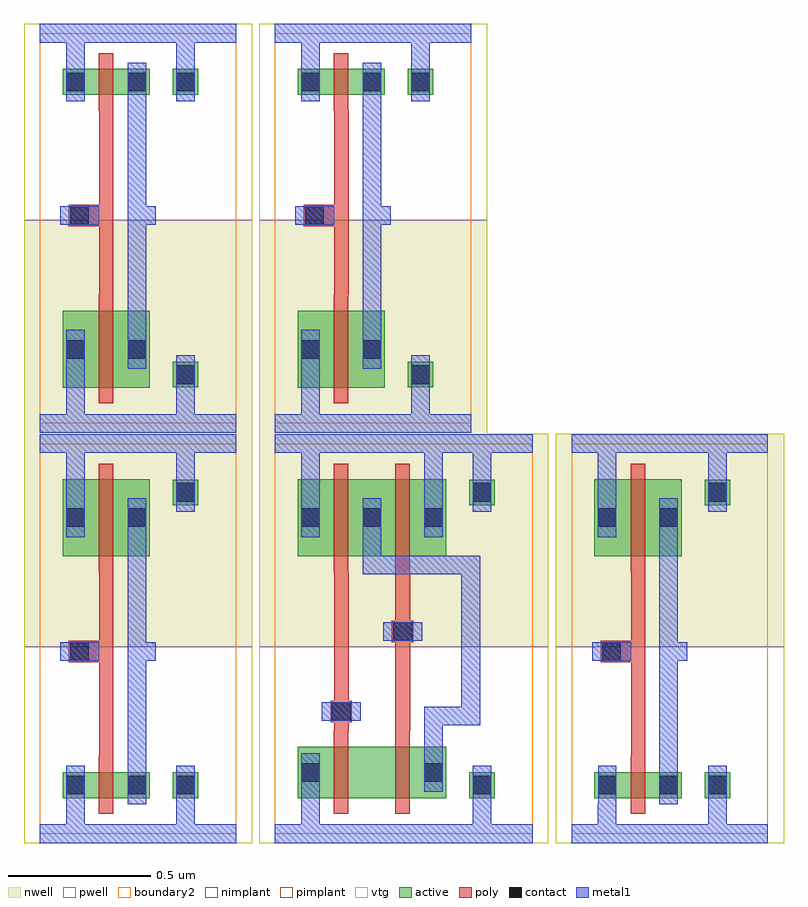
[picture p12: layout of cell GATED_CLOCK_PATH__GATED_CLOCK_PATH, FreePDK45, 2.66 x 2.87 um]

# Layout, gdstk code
import gdstk
lib = gdstk.Library(unit=1e-6, precision=1e-09)
def R(c, l, rs):  # rectangles x0, y0, x1, y1
    for r in rs: c.add(gdstk.rectangle(r[:2], r[2:], *l))
active = (1, 0)
pwell = (2, 0)
nwell = (3, 0)
nimplant = (4, 0)
pimplant = (5, 0)
vtg = (6, 0)
poly = (9, 0)
contact = (10, 0)
metal1 = (11, 0)
boundary2 = (239, 0)

gated_clock_path__sram_1 = lib.new_cell('GATED_CLOCK_PATH__sram_1rw_32x16_freepdk45_contact_11')
R(gated_clock_path__sram_1, active, [(0,0.022,0.09,0.112)])
R(gated_clock_path__sram_1, nwell, [(-0.055,-0.033,0.145,0.168)])
R(gated_clock_path__sram_1, pimplant, [(0,0.022,0.09,0.112)])
R(gated_clock_path__sram_1, contact, [(0.013,0.035,0.077,0.1)])
R(gated_clock_path__sram_1, metal1, [(0.013,0,0.077,0.135)])
R(gated_clock_path__sram_1, boundary2, [(-0.055,-0.033,0.145,0.168)])

c_gated_clock_path__sram_1 = lib.new_cell('GATED_CLOCK_PATH__sram_1rw_32x16_freepdk45_pmos_m1_w0_270_sm1_dm1_da_p')
R(c_gated_clock_path__sram_1, active, [(0,0,0.305,0.27)])
R(c_gated_clock_path__sram_1, nwell, [(-0.08,-0.08,0.385,0.35)])
R(c_gated_clock_path__sram_1, pimplant, [(0,0,0.305,0.27)])
R(c_gated_clock_path__sram_1, vtg, [(-0.08,-0.08,0.385,0.35)])
R(c_gated_clock_path__sram_1, poly, [(0.127,-0.055,0.177,0.325), (0.127,-0.055,0.177,0.325)])
R(c_gated_clock_path__sram_1, metal1, [(0.013,0.068,0.077,0.203), (0.227,0.068,0.292,0.203)])
R(c_gated_clock_path__sram_1, boundary2, [(-0.08,-0.08,0.385,0.35)])
c_gated_clock_path__sram_1.add(gdstk.Reference(gated_clock_path__sram_1, (0,0.068)))
c_gated_clock_path__sram_1.add(gdstk.Reference(gated_clock_path__sram_1, (0.215,0.068)))
c_gated_clock_path__sram_1.add(gdstk.Label('G', (0.152,0.135), layer=9, texttype=0))
c_gated_clock_path__sram_1.add(gdstk.Label('S', (0.045,0.135), layer=11, texttype=0))
c_gated_clock_path__sram_1.add(gdstk.Label('D', (0.26,0.135), layer=11, texttype=0))

c_gated_clock_path__sram_1_ = lib.new_cell('GATED_CLOCK_PATH__sram_1rw_32x16_freepdk45_contact_10')
R(c_gated_clock_path__sram_1_, active, [(0,0.022,0.09,0.112)])
R(c_gated_clock_path__sram_1_, pwell, [(-0.055,-0.033,0.145,0.168)])
R(c_gated_clock_path__sram_1_, nimplant, [(0,0.022,0.09,0.112)])
R(c_gated_clock_path__sram_1_, contact, [(0.013,0.035,0.077,0.1)])
R(c_gated_clock_path__sram_1_, metal1, [(0.013,0,0.077,0.135)])
R(c_gated_clock_path__sram_1_, boundary2, [(-0.055,-0.033,0.145,0.168)])

c_gated_clock_path__sram_1__ = lib.new_cell('GATED_CLOCK_PATH__sram_1rw_32x16_freepdk45_nmos_m1_w0_090_sm1_dm1_da_p')
R(c_gated_clock_path__sram_1__, active, [(0,0,0.305,0.09)])
R(c_gated_clock_path__sram_1__, pwell, [(-0.08,-0.08,0.385,0.17)])
R(c_gated_clock_path__sram_1__, nimplant, [(0,0,0.305,0.09)])
R(c_gated_clock_path__sram_1__, vtg, [(-0.08,-0.08,0.385,0.17)])
R(c_gated_clock_path__sram_1__, poly, [(0.127,-0.055,0.177,0.145), (0.127,-0.055,0.177,0.145)])
R(c_gated_clock_path__sram_1__, metal1, [(0.013,-0.022,0.077,0.112), (0.227,-0.022,0.292,0.112)])
R(c_gated_clock_path__sram_1__, boundary2, [(-0.08,-0.08,0.385,0.17)])
c_gated_clock_path__sram_1__.add(gdstk.Reference(c_gated_clock_path__sram_1_, (0,-0.022)))
c_gated_clock_path__sram_1__.add(gdstk.Reference(c_gated_clock_path__sram_1_, (0.215,-0.022)))
c_gated_clock_path__sram_1__.add(gdstk.Label('G', (0.152,0.045), layer=9, texttype=0))
c_gated_clock_path__sram_1__.add(gdstk.Label('S', (0.045,0.045), layer=11, texttype=0))
c_gated_clock_path__sram_1__.add(gdstk.Label('D', (0.26,0.045), layer=11, texttype=0))

c_gated_clock_path__sram_1___ = lib.new_cell('GATED_CLOCK_PATH__sram_1rw_32x16_freepdk45_contact_12')
R(c_gated_clock_path__sram_1___, active, [(0,0.022,0.09,0.112)])
R(c_gated_clock_path__sram_1___, nwell, [(-0.055,-0.033,0.145,0.168)])
R(c_gated_clock_path__sram_1___, nimplant, [(0,0.022,0.09,0.112)])
R(c_gated_clock_path__sram_1___, contact, [(0.013,0.035,0.077,0.1)])
R(c_gated_clock_path__sram_1___, metal1, [(0.013,0,0.077,0.135)])
R(c_gated_clock_path__sram_1___, boundary2, [(-0.055,-0.033,0.145,0.168)])

c_gated_clock_path__sram_1____ = lib.new_cell('GATED_CLOCK_PATH__sram_1rw_32x16_freepdk45_contact_13')
R(c_gated_clock_path__sram_1____, active, [(0,0.022,0.09,0.112)])
R(c_gated_clock_path__sram_1____, pwell, [(-0.055,-0.033,0.145,0.168)])
R(c_gated_clock_path__sram_1____, pimplant, [(0,0.022,0.09,0.112)])
R(c_gated_clock_path__sram_1____, contact, [(0.013,0.035,0.077,0.1)])
R(c_gated_clock_path__sram_1____, metal1, [(0.013,0,0.077,0.135)])
R(c_gated_clock_path__sram_1____, boundary2, [(-0.055,-0.033,0.145,0.168)])

c_gated_clock_path__sram_1_____ = lib.new_cell('GATED_CLOCK_PATH__sram_1rw_32x16_freepdk45_contact_14')
R(c_gated_clock_path__sram_1_____, poly, [(0.03,0,0.105,0.075)])
R(c_gated_clock_path__sram_1_____, contact, [(0.035,0.005,0.1,0.07)])
R(c_gated_clock_path__sram_1_____, metal1, [(0,0.005,0.135,0.07)])
R(c_gated_clock_path__sram_1_____, boundary2, [(0,0,0.135,0.075)])

gated_clock_path__gen_in = lib.new_cell('GATED_CLOCK_PATH__gen_inv')
R(gated_clock_path__gen_in, pwell, [(-0.055,-0.033,0.743,0.655)])
R(gated_clock_path__gen_in, nwell, [(-0.055,0.655,0.743,1.4)])
R(gated_clock_path__gen_in, vtg, [(-0.055,-0.033,0.743,0.655), (-0.055,0.655,0.743,1.4)])
R(gated_clock_path__gen_in, poly, [(0.208,0.27,0.258,0.915), (0.14,0.6,0.208,0.675)])
R(gated_clock_path__gen_in, metal1, [(0,-0.033,0.687,0.033), (0.092,-0.033,0.157,0.103), (0.478,0,0.542,0.17), (0.307,0.103,0.372,1.173), (0.072,0.605,0.208,0.67), (0.34,0.605,0.405,0.67), (0.092,1.038,0.157,1.397), (0.478,1.195,0.542,1.365), (0,1.332,0.687,1.397)])
R(gated_clock_path__gen_in, boundary2, [(0,0,0.687,1.365), (0,0,0.687,1.365)])
gated_clock_path__gen_in.add(gdstk.Reference(c_gated_clock_path__sram_1, (0.08,0.97)))
gated_clock_path__gen_in.add(gdstk.Reference(c_gated_clock_path__sram_1__, (0.08,0.125)))
gated_clock_path__gen_in.add(gdstk.Reference(c_gated_clock_path__sram_1___, (0.465,1.127)))
gated_clock_path__gen_in.add(gdstk.Reference(c_gated_clock_path__sram_1____, (0.465,0.103)))
gated_clock_path__gen_in.add(gdstk.Reference(c_gated_clock_path__sram_1_____, (0.072,0.6)))
gated_clock_path__gen_in.add(gdstk.Label('A', (0.14,0.638), layer=11, texttype=0))
gated_clock_path__gen_in.add(gdstk.Label('Z', (0.372,0.638), layer=11, texttype=0))
gated_clock_path__gen_in.add(gdstk.Label('gnd', (0.345,0), layer=11, texttype=0))
gated_clock_path__gen_in.add(gdstk.Label('vdd', (0.345,1.365), layer=11, texttype=0))

c_gated_clock_path__sram_1______ = lib.new_cell('GATED_CLOCK_PATH__sram_1rw_32x16_freepdk45_contact_11__gen_nand2')
R(c_gated_clock_path__sram_1______, active, [(0,0.022,0.09,0.112)])
R(c_gated_clock_path__sram_1______, nwell, [(-0.055,-0.033,0.145,0.168)])
R(c_gated_clock_path__sram_1______, pimplant, [(0,0.022,0.09,0.112)])
R(c_gated_clock_path__sram_1______, contact, [(0.013,0.035,0.077,0.1)])
R(c_gated_clock_path__sram_1______, metal1, [(0.013,0,0.077,0.135)])
R(c_gated_clock_path__sram_1______, boundary2, [(-0.055,-0.033,0.145,0.168)])

c_gated_clock_path__sram_1_______ = lib.new_cell('GATED_CLOCK_PATH__sram_1rw_32x16_freepdk45_pmos_m1_w0_270_sm1_dm1')
R(c_gated_clock_path__sram_1_______, active, [(0,0,0.305,0.27)])
R(c_gated_clock_path__sram_1_______, nwell, [(-0.08,-0.08,0.385,0.35)])
R(c_gated_clock_path__sram_1_______, pimplant, [(0,0,0.305,0.27)])
R(c_gated_clock_path__sram_1_______, vtg, [(-0.08,-0.08,0.385,0.35)])
R(c_gated_clock_path__sram_1_______, poly, [(0.127,-0.055,0.177,0.325), (0.127,-0.055,0.177,0.325)])
R(c_gated_clock_path__sram_1_______, metal1, [(0.013,0.068,0.077,0.203), (0.227,0.068,0.292,0.203)])
R(c_gated_clock_path__sram_1_______, boundary2, [(-0.08,-0.08,0.385,0.35)])
c_gated_clock_path__sram_1_______.add(gdstk.Reference(c_gated_clock_path__sram_1______, (0,0.068)))
c_gated_clock_path__sram_1_______.add(gdstk.Reference(c_gated_clock_path__sram_1______, (0.215,0.068)))
c_gated_clock_path__sram_1_______.add(gdstk.Label('G', (0.152,0.135), layer=9, texttype=0))
c_gated_clock_path__sram_1_______.add(gdstk.Label('S', (0.045,0.135), layer=11, texttype=0))
c_gated_clock_path__sram_1_______.add(gdstk.Label('D', (0.26,0.135), layer=11, texttype=0))

c_gated_clock_path__sram_1________ = lib.new_cell('GATED_CLOCK_PATH__sram_1rw_32x16_freepdk45_contact_10__gen_nand2')
R(c_gated_clock_path__sram_1________, active, [(0,0.022,0.09,0.112)])
R(c_gated_clock_path__sram_1________, pwell, [(-0.055,-0.033,0.145,0.168)])
R(c_gated_clock_path__sram_1________, nimplant, [(0,0.022,0.09,0.112)])
R(c_gated_clock_path__sram_1________, contact, [(0.013,0.035,0.077,0.1)])
R(c_gated_clock_path__sram_1________, metal1, [(0.013,0,0.077,0.135)])
R(c_gated_clock_path__sram_1________, boundary2, [(-0.055,-0.033,0.145,0.168)])

c_gated_clock_path__sram_1_________ = lib.new_cell('GATED_CLOCK_PATH__sram_1rw_32x16_freepdk45_nmos_m1_w0_180_sm1_dactive')
R(c_gated_clock_path__sram_1_________, active, [(0,0,0.305,0.18), (0.215,0.045,0.305,0.135)])
R(c_gated_clock_path__sram_1_________, pwell, [(-0.08,-0.08,0.385,0.26)])
R(c_gated_clock_path__sram_1_________, nimplant, [(0,0,0.305,0.18)])
R(c_gated_clock_path__sram_1_________, vtg, [(-0.08,-0.08,0.385,0.26)])
R(c_gated_clock_path__sram_1_________, poly, [(0.127,-0.055,0.177,0.235), (0.127,-0.055,0.177,0.235)])
R(c_gated_clock_path__sram_1_________, metal1, [(0.013,0.022,0.077,0.157)])
R(c_gated_clock_path__sram_1_________, boundary2, [(-0.08,-0.08,0.385,0.26)])
c_gated_clock_path__sram_1_________.add(gdstk.Reference(c_gated_clock_path__sram_1________, (0,0.022)))
c_gated_clock_path__sram_1_________.add(gdstk.Label('G', (0.152,0.09), layer=9, texttype=0))
c_gated_clock_path__sram_1_________.add(gdstk.Label('S', (0.045,0.09), layer=11, texttype=0))
c_gated_clock_path__sram_1_________.add(gdstk.Label('D', (0.26,0.09), layer=1, texttype=0))

c_gated_clock_path__sram_1__________ = lib.new_cell('GATED_CLOCK_PATH__sram_1rw_32x16_freepdk45_nmos_m1_w0_180_sactive_dm1')
R(c_gated_clock_path__sram_1__________, active, [(0,0,0.305,0.18), (0,0.045,0.09,0.135)])
R(c_gated_clock_path__sram_1__________, pwell, [(-0.08,-0.08,0.385,0.26)])
R(c_gated_clock_path__sram_1__________, nimplant, [(0,0,0.305,0.18)])
R(c_gated_clock_path__sram_1__________, vtg, [(-0.08,-0.08,0.385,0.26)])
R(c_gated_clock_path__sram_1__________, poly, [(0.127,-0.055,0.177,0.235), (0.127,-0.055,0.177,0.235)])
R(c_gated_clock_path__sram_1__________, metal1, [(0.227,0.022,0.292,0.157)])
R(c_gated_clock_path__sram_1__________, boundary2, [(-0.08,-0.08,0.385,0.26)])
c_gated_clock_path__sram_1__________.add(gdstk.Reference(c_gated_clock_path__sram_1________, (0.215,0.022)))
c_gated_clock_path__sram_1__________.add(gdstk.Label('G', (0.152,0.09), layer=9, texttype=0))
c_gated_clock_path__sram_1__________.add(gdstk.Label('S', (0.045,0.09), layer=1, texttype=0))
c_gated_clock_path__sram_1__________.add(gdstk.Label('D', (0.26,0.09), layer=11, texttype=0))

gated_clock_path__gen_na = lib.new_cell('GATED_CLOCK_PATH__gen_nand2')
R(gated_clock_path__gen_na, pwell, [(-0.055,-0.033,0.957,0.655)])
R(gated_clock_path__gen_na, nwell, [(-0.055,0.655,0.957,1.4)])
R(gated_clock_path__gen_na, vtg, [(-0.055,-0.033,0.957,0.655), (-0.055,0.655,0.957,1.4)])
R(gated_clock_path__gen_na, poly, [(0.208,0.36,0.258,0.915), (0.422,0.36,0.473,0.915), (0.208,0.39,0.232,0.465), (0.422,0.67,0.447,0.745)])
R(gated_clock_path__gen_na, metal1, [(0,-0.033,0.902,0.033), (0.092,-0.033,0.157,0.147), (0.692,0,0.758,0.17), (0.522,0.283,0.588,0.413), (0.522,0.38,0.588,0.445), (0.555,0.38,0.685,0.445), (0.652,0.38,0.718,0.445), (0.165,0.395,0.3,0.46), (0.652,0.413,0.718,0.94), (0.38,0.675,0.515,0.74), (0.307,0.907,0.372,0.972), (0.34,0.907,0.685,0.972), (0.652,0.907,0.718,0.972), (0.307,0.94,0.372,1.038), (0.092,1.038,0.157,1.397), (0.522,1.038,0.588,1.397), (0.692,1.195,0.758,1.365), (0,1.332,0.902,1.397)])
R(gated_clock_path__gen_na, boundary2, [(0,0,0.902,1.365), (0,0,0.902,1.365)])
gated_clock_path__gen_na.add(gdstk.Reference(c_gated_clock_path__sram_1_______, (0.08,0.97)))
gated_clock_path__gen_na.add(gdstk.Reference(c_gated_clock_path__sram_1_______, (0.295,0.97)))
gated_clock_path__gen_na.add(gdstk.Reference(c_gated_clock_path__sram_1_________, (0.08,0.125)))
gated_clock_path__gen_na.add(gdstk.Reference(c_gated_clock_path__sram_1__________, (0.295,0.125)))
gated_clock_path__gen_na.add(gdstk.Reference(c_gated_clock_path__sram_1___, (0.68,1.127)))
gated_clock_path__gen_na.add(gdstk.Reference(c_gated_clock_path__sram_1____, (0.68,0.103)))
gated_clock_path__gen_na.add(gdstk.Reference(c_gated_clock_path__sram_1_____, (0.165,0.39)))
gated_clock_path__gen_na.add(gdstk.Reference(c_gated_clock_path__sram_1_____, (0.38,0.67)))
gated_clock_path__gen_na.add(gdstk.Label('Z', (0.685,0.94), layer=11, texttype=0))
gated_clock_path__gen_na.add(gdstk.Label('gnd', (0.45,0), layer=11, texttype=0))
gated_clock_path__gen_na.add(gdstk.Label('vdd', (0.45,1.365), layer=11, texttype=0))
gated_clock_path__gen_na.add(gdstk.Label('A', (0.232,0.427), layer=11, texttype=0))
gated_clock_path__gen_na.add(gdstk.Label('B', (0.447,0.707), layer=11, texttype=0))

gated_clock_path__gated_ = lib.new_cell('GATED_CLOCK_PATH__GATED_CLOCK_PATH')
gated_clock_path__gated_.add(gdstk.Reference(gated_clock_path__gen_in, (0.08,0.08)))
gated_clock_path__gated_.add(gdstk.Reference(gated_clock_path__gen_na, (0.902,0.08)))
gated_clock_path__gated_.add(gdstk.Reference(gated_clock_path__gen_in, (1.94,0.08)))
gated_clock_path__gated_.add(gdstk.Reference(gated_clock_path__gen_in, (0.08,2.88), x_reflection=True))
gated_clock_path__gated_.add(gdstk.Reference(gated_clock_path__gen_in, (0.902,2.88), x_reflection=True))

lib.write_gds('GATED_CLOCK_PATH__GATED_CLOCK_PATH.gds')
